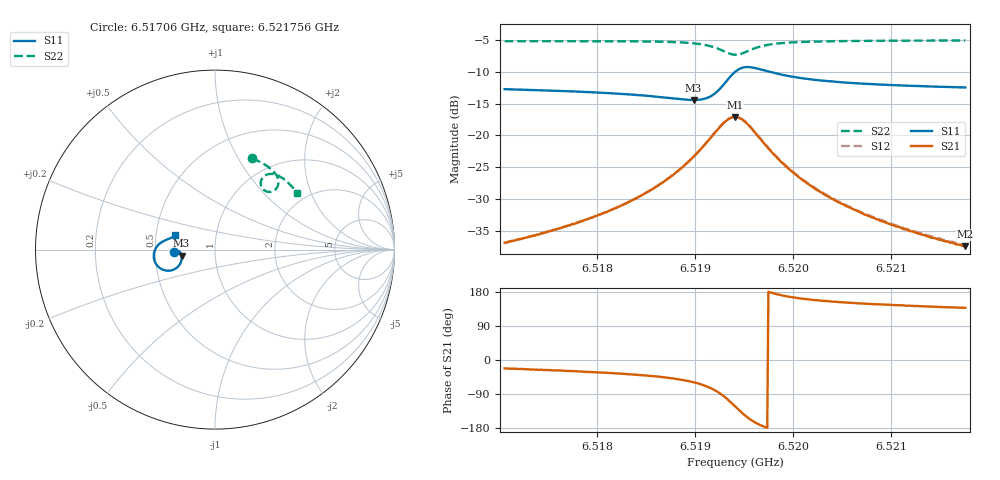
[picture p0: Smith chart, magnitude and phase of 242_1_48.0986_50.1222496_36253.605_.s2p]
#  HZ  S  RI  R  50.00
! Rohde & Schwarz Vector Network Analyzer
! Rohde-Schwarz,ZNB20-2Port,1311601062101988,3.16
! Created: UTC 12/23/2023, 3:58:51 AM
! freq[Hz]  re:S11  im:S11  re:S21  im:S21  re:S12  im:S12  re:S22  im:S22
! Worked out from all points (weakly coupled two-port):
!   401 points, 6.51706 GHz to 6.521756 GHz, reference 50 ohm
!   highest |S21| = -17.12 dB at 6.519408 GHz (marker M1); lowest = -37.4 dB at 6.521756 GHz (marker M2)
!   lowest |S11| = -14.4 dB at 6.518985 GHz (marker M3), VSWR 1.47, Z = 34.2 - j2.42 ohm
!   |S11| at or under -10 dB: start of sweep to 6.519411 GHz; 6.519757 GHz to end of sweep
!   |S22| runs from -7.3 to -5.1 dB; largest |S21 - S12| = 0.0043
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6.5170598e9  -0.2299 -0.0159  0.0133 -0.00541  0.0134 -0.00495  0.2073 0.5077
6.5173885e9  -0.2263 -0.0111  0.015 -0.00715  0.0152 -0.00661  0.2316 0.4975
6.5178463e9  -0.2197 -0.00559  0.0183 -0.0108  0.0186 -0.0102  0.2652 0.4803
6.518269e9  -0.2112 -0.00389  0.0229 -0.017  0.0236 -0.0163  0.2972 0.4602
6.5186329e9  -0.2001 -0.00881  0.0293 -0.0284  0.0302 -0.0277  0.3253 0.4361
6.518809e9  -0.1932 -0.0169  0.033 -0.0392  0.0344 -0.0383  0.339 0.4193
6.5189851e9  -0.1866 -0.0341  0.0353 -0.058  0.0372 -0.0573  0.3506 0.395
6.5190908e9  -0.1858 -0.0529  0.0328 -0.0763  0.0351 -0.0758  0.3536 0.3744
6.5191847e9  -0.1933 -0.0774  0.022 -0.0985  0.0252 -0.0987  0.3484 0.3514
6.5193138e9  -0.2366 -0.1137  -0.0219 -0.1273  -0.0184 -0.1289  0.3147 0.3229
6.5194077e9  -0.295 -0.11  -0.0741 -0.118  -0.0713 -0.121  0.2744 0.3303
6.5194664e9  -0.3251 -0.0852  -0.0981 -0.0929  -0.0964 -0.0964  0.2581 0.3516
6.5195251e9  -0.3396 -0.0528  -0.1076 -0.0631  -0.1066 -0.0669  0.255 0.3761
6.5196191e9  -0.3371 -0.00848  -0.1003 -0.0256  -0.1006 -0.0288  0.2693 0.4048
6.5197247e9  -0.3203 0.0212  -0.0827 -0.00297  -0.0834 -0.00535  0.2923 0.4186
6.519936e9  -0.2904 0.0455  -0.0549 0.0118  -0.056 0.0103  0.3297 0.42
6.5201943e9  -0.2686 0.0555  -0.0368 0.0143  -0.0377 0.0133  0.3602 0.4082
6.5204878e9  -0.254 0.0612  -0.026 0.0135  -0.0267 0.0128  0.3853 0.3915
6.5207109e9  -0.2463 0.0646  -0.0208 0.0124  -0.0215 0.0121  0.4011 0.3785
6.5209809e9  -0.2391 0.0684  -0.0167 0.0113  -0.0172 0.0112  0.4179 0.3624
6.5213918e9  -0.2304 0.0741  -0.0124 0.0101  -0.0129 0.00989  0.4406 0.3374
6.5217557e9  -0.2242 0.0791  -0.00996 0.00909  -0.0104 0.00901  0.4584 0.3148
